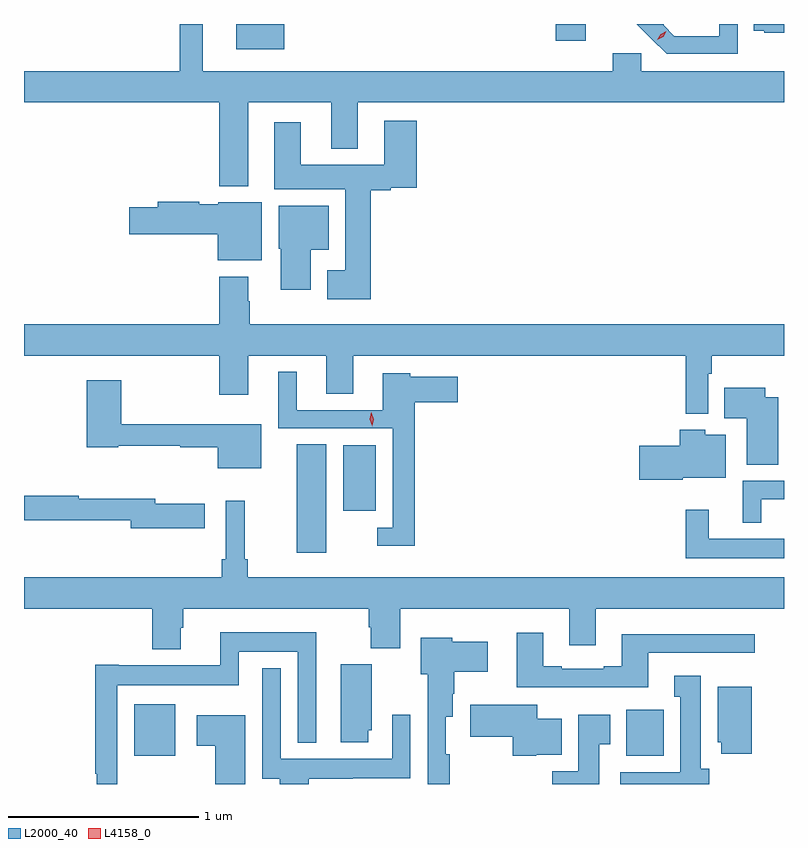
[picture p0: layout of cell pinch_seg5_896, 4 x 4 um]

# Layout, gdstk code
import gdstk
lib = gdstk.Library(unit=1e-6, precision=1e-09)
def R(c, l, rs):  # rectangles x0, y0, x1, y1
    for r in rs: c.add(gdstk.rectangle(r[:2], r[2:], *l))
def P(c, l, *ps):  # polygons
    for p in ps: c.add(gdstk.Polygon(p, *l))
L2000_40 = (2000, 40)
L4158_0 = (4158, 0)

pinch_seg5_896 = lib.new_cell('pinch_seg5_896')
R(pinch_seg5_896, L2000_40, [(753.218,886.622,753.433,886.894), (755.807,886.622,756.004,886.864), (754.073,887.691,754.228,888.26), (754.316,887.912,754.489,888.256), (753.755,890.339,754.006,890.473), (755.436,890.385,755.593,890.473)])
P(pinch_seg5_896, L2000_40, [(756.393,890.473),(756.297,890.473),(756.297,890.409),(756.06,890.409),(756.003,890.466),(756.003,890.473),(755.861,890.473),(755.936,890.399),(756.02,890.316),(756.393,890.316)],
  [(753.817,890.06),(754.253,890.06),(754.253,889.817),(754.393,889.817),(754.393,890.06),(756.637,890.06),(756.637,890.224),(755.886,890.224),(755.886,890.32),(755.735,890.32),(755.735,890.224),(753.577,890.224),(753.577,890.473),(753.456,890.473),(753.456,890.224),(752.637,890.224),(752.637,890.06),(753.665,890.06),(753.665,889.619),(753.817,889.619)],
  [(756.637,890.473),(756.478,890.473),(756.478,890.438),(756.534,890.438),(756.534,890.426),(756.637,890.426)],
  [(754.463,889.598),(754.566,889.598),(754.566,889.61),(754.703,889.61),(754.703,889.963),(754.532,889.963),(754.532,889.732),(754.093,889.732),(754.093,889.957),(753.953,889.957),(753.953,889.604),(754.328,889.604),(754.328,889.177),(754.233,889.177),(754.233,889.025),(754.463,889.025)],
  [(753.889,889.534),(753.66,889.534),(753.66,889.525),(753.56,889.525),(753.56,889.538),(753.341,889.538),(753.341,889.508),(753.192,889.508),(753.192,889.366),(753.656,889.366),(753.656,889.229),(753.889,889.229)],
  [(754.147,889.286),(754.24,889.286),(754.24,889.516),(753.977,889.516),(753.977,889.29),(753.989,889.29),(753.989,889.074),(754.147,889.074)],
  [(756.237,888.632),(756.257,888.632),(756.257,888.728),(756.637,888.728),(756.637,888.892),(753.825,888.892),(753.825,889.013),(753.817,889.013),(753.817,889.144),(753.665,889.144),(753.665,888.892),(752.637,888.892),(752.637,888.728),(753.665,888.728),(753.665,888.522),(753.817,888.522),(753.817,888.728),(754.229,888.728),(754.229,888.526),(754.369,888.526),(754.369,888.728),(756.121,888.728),(756.121,888.422),(756.237,888.422)],
  [(754.694,888.482),(754.921,888.482),(754.921,888.616),(754.671,888.616),(754.671,888.634),(754.526,888.634),(754.526,888.441),(754.072,888.441),(754.072,888.643),(753.974,888.643),(753.974,888.345),(754.578,888.345),(754.578,887.823),(754.497,887.823),(754.497,887.726),(754.694,887.726)],
  [(753.886,888.367),(753.149,888.367),(753.149,888.598),(752.966,888.598),(752.966,888.245),(753.132,888.245),(753.132,888.253),(753.46,888.253),(753.46,888.246),(753.656,888.246),(753.656,888.134),(753.886,888.134)],
  [(756.607,888.508),(756.538,888.508),(756.538,888.559),(756.322,888.559),(756.322,888.398),(756.44,888.398),(756.44,888.154),(756.607,888.154)],
  [(756.105,888.086),(756.331,888.086),(756.331,888.31),(756.222,888.31),(756.222,888.337),(756.089,888.337),(756.089,888.252),(755.874,888.252),(755.874,888.074),(756.105,888.074)],
  [(756.517,887.973),(756.637,887.973),(756.637,888.069),(756.419,888.069),(756.419,887.849),(756.517,887.849)],
  [(753.589,887.949),(753.328,887.949),(753.328,887.975),(752.924,887.975),(752.924,887.99),(752.637,887.99),(752.637,887.862),(753.2,887.862),(753.2,887.819),(753.589,887.819)],
  [(756.637,887.764),(756.241,887.764),(756.241,887.917),(756.12,887.917),(756.12,887.66),(756.637,887.66)],
  [(753.815,887.656),(753.8,887.656),(753.8,887.965),(753.699,887.965),(753.699,887.656),(753.679,887.656),(753.679,887.56),(752.637,887.56),(752.637,887.396),(753.311,887.396),(753.311,887.183),(753.463,887.183),(753.463,887.295),(753.476,887.295),(753.476,887.396),(754.451,887.396),(754.451,887.297),(754.463,887.297),(754.463,887.188),(754.616,887.188),(754.616,887.396),(755.507,887.396),(755.507,887.202),(755.647,887.202),(755.647,887.396),(756.637,887.396),(756.637,887.56),(753.815,887.56)],
  [(753.129,886.994),(753.768,886.994),(753.768,887.168),(754.077,887.168),(754.077,886.691),(754.174,886.691),(754.174,887.272),(753.671,887.272),(753.671,887.098),(753.136,887.098),(753.136,887.101),(753.013,887.101),(753.013,886.528),(753.021,886.528),(753.021,886.473),(753.129,886.473)],
  [(755.923,887.163),(756.484,887.163),(756.484,887.26),(755.783,887.26),(755.783,887.092),(755.687,887.092),(755.687,887.079),(755.467,887.079),(755.467,887.092),(755.371,887.092),(755.371,887.269),(755.231,887.269),(755.231,886.982),(755.923,886.982)],
  [(754.877,886.629),(754.857,886.629),(754.857,886.826),(754.894,886.826),(754.894,886.949),(754.902,886.949),(754.902,887.063),(755.077,887.063),(755.077,887.221),(754.89,887.221),(754.89,887.242),(754.724,887.242),(754.724,887.051),(754.761,887.051),(754.761,886.473),(754.877,886.473)],
  [(754.45,886.755),(754.468,886.755),(754.468,887.103),(754.304,887.103),(754.304,886.692),(754.45,886.692)],
  [(754.136,886.5),(754.367,886.5),(754.367,886.502),(754.671,886.502),(754.671,886.837),(754.575,886.837),(754.575,886.606),(753.987,886.606),(753.987,887.083),(753.891,887.083),(753.891,886.5),(753.983,886.5),(753.983,886.473),(754.136,886.473)],
  [(756.244,886.554),(756.199,886.554),(756.199,887.044),(756.059,887.044),(756.059,886.931),(756.092,886.931),(756.092,886.534),(755.775,886.534),(755.775,886.473),(756.244,886.473)],
  [(756.466,886.984),(756.287,886.984),(756.287,886.692),(756.308,886.692),(756.308,886.632),(756.466,886.632)],
  [(755.334,886.628),(755.467,886.628),(755.467,886.816),(755.338,886.816),(755.338,886.891),(754.986,886.891),(754.986,886.721),(755.209,886.721),(755.209,886.622),(755.334,886.622)],
  [(755.665,886.681),(755.722,886.681),(755.722,886.837),(755.555,886.837),(755.555,886.54),(755.416,886.54),(755.416,886.473),(755.665,886.473)],
  [(753.802,886.834),(753.545,886.834),(753.545,886.675),(753.644,886.675),(753.644,886.473),(753.802,886.473)])
P(pinch_seg5_896, L4158_0, [(754.469,888.357),(754.469,888.358),(754.457,888.393),(754.464,888.43),(754.464,888.43),(754.464,888.43),(754.477,888.394),(754.469,888.358)],
  [(755.97,890.389),(755.97,890.389),(755.987,890.419),(756.017,890.435),(756.018,890.435),(756.018,890.435),(756.001,890.405),(755.971,890.389)])

lib.write_gds('pinch_seg5_896.gds')
